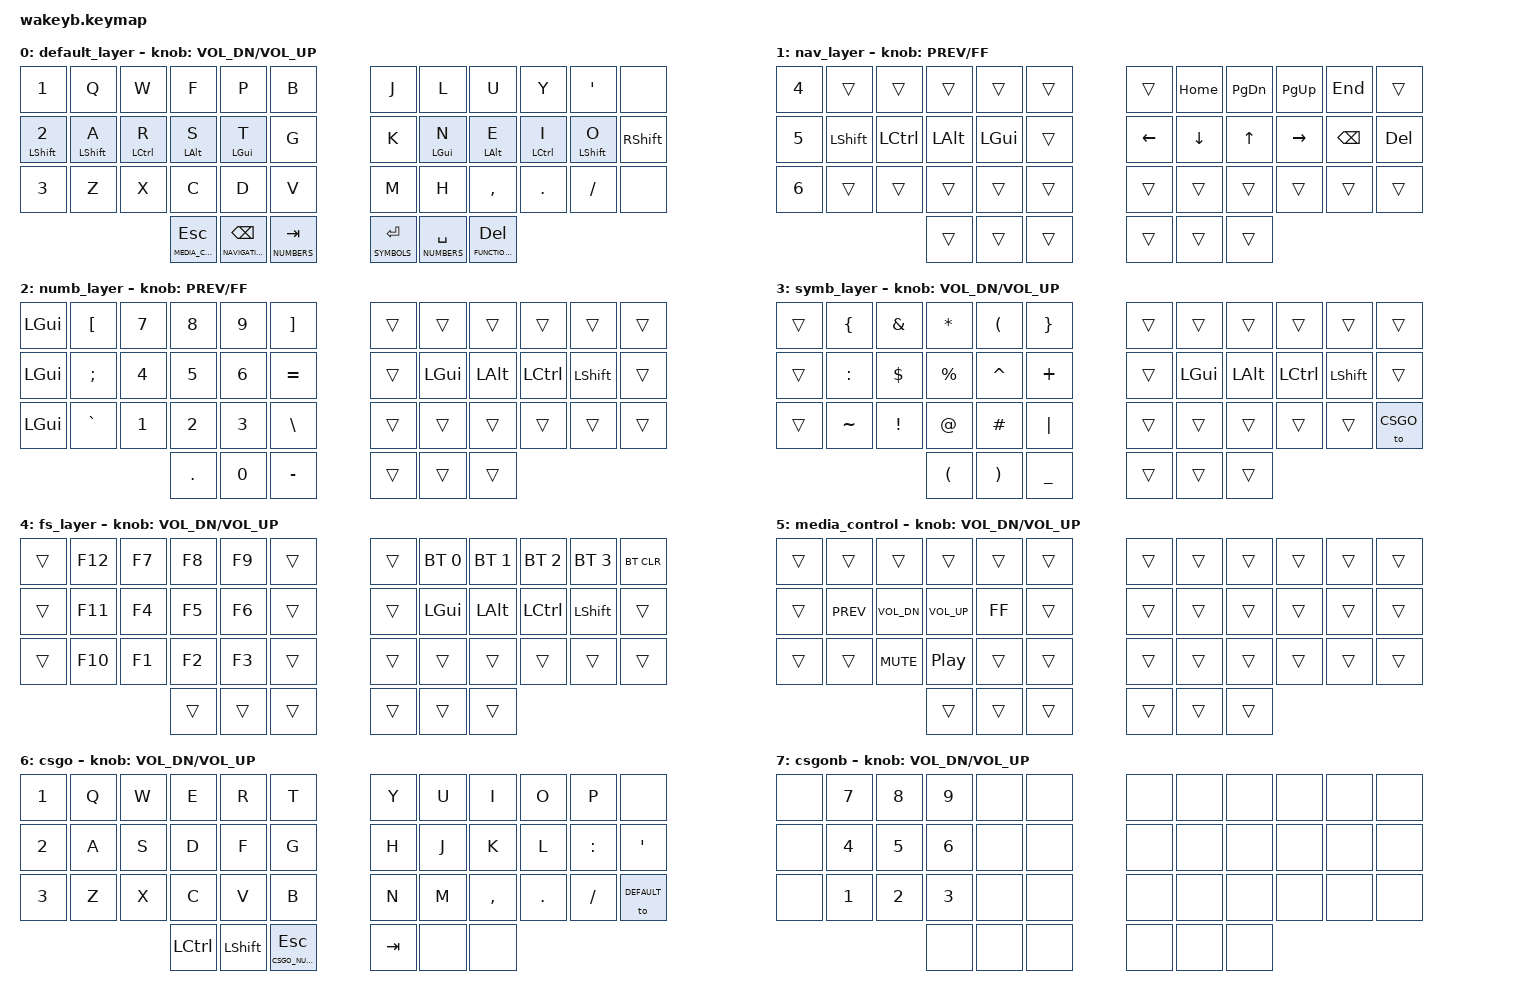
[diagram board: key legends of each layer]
/*
 * Copyright (c) 2020 The ZMK Contributors
 *
 * SPDX-License-Identifier: MIT
*/

#include <behaviors.dtsi>
#include <dt-bindings/zmk/keys.h>
#include <dt-bindings/zmk/bt.h>

#define DEFAULT         0
#define NAVIGATION      1
#define NUMBERS         2
#define SYMBOLS         3
#define FUNCTION_KEYS   4
#define MEDIA_CONTROL   5
#define CSGO            6
#define CSGO_NUMBERS    7

/ {
        behavior {
            gqt: global-quick-tap {
                compatible = "zmk,behavior-hold-tap";
                #binding-cells = <2>;
                flavor = "tap-preferred";
                tapping-term-ms = <200>;
                quick-tap-ms = <125>;
                global-quick-tap;
                bindings = <&kp>, <&kp>;
            };
            hm: homerow_mods {
                compatible = "zmk,behavior-hold-tap";
                #binding-cells = <2>;
                tapping-term-ms = <150>;
                quick-tap-ms = <0>;
                flavor = "tap-preferred";
                bindings = <&kp>, <&kp>;
            };
        };
        keymap {
                compatible = "zmk,keymap";

                default_layer {
                        bindings = <
&kp N1         &kp Q           &kp W         &kp F        &kp P        &kp B   /**/  &kp J            &kp L              &kp U                  &kp Y         &kp SQT        &none
&gqt LSHIFT N2  &gqt LSHIFT A   &gqt LCTRL R  &gqt LALT S  &gqt LGUI T  &kp G   /**/  &kp K            &gqt LGUI N        &gqt LALT E            &gqt LCTRL I  &gqt LSHIFT O  &kp RSHIFT
&kp N3         &kp Z           &kp X         &kp C        &kp D        &kp V   /**/  &kp M            &kp H              &kp COMMA              &kp DOT       &kp FSLH       &none
               &lt MEDIA_CONTROL ESC   &lt NAVIGATION BSPC    &lt NUMBERS TAB  /**/  &lt SYMBOLS RET  &lt NUMBERS SPACE  &lt FUNCTION_KEYS DEL
                        >;
                  sensor-bindings = <&inc_dec_kp C_VOL_DN C_VOL_UP >;

                };

                nav_layer {
                        bindings = <
   &kp N4   &trans      &trans      &trans      &trans      &trans   /**/  &trans      &kp HOME    &kp PG_DN   &kp PG_UP   &kp END      &trans
   &kp N5   &kp LSHIFT  &kp LCTRL   &kp LALT    &kp LGUI    &trans   /**/  &kp LEFT    &kp DOWN    &kp UP      &kp RIGHT   &kp BSPC     &kp DEL
   &kp N6   &trans      &trans      &trans      &trans      &trans   /**/  &trans      &trans      &trans      &trans      &trans       &trans
                          	        &trans      &trans      &trans   /**/  &trans      &trans      &trans
                        >;
                  sensor-bindings = <&inc_dec_kp C_PREV C_FF>;

                };

                numb_layer {
                        bindings = <
   &kp LGUI   &kp LBKT    &kp N7   &kp N8   &kp N9   &kp RBKT   /**/   &trans      &trans     &trans      &trans      &trans      &trans
   &kp LGUI   &kp SEMI    &kp N4   &kp N5   &kp N6   &kp EQUAL  /**/   &trans      &kp LGUI   &kp LALT    &kp LCTRL   &kp LSHIFT  &trans
   &kp LGUI   &kp GRAVE   &kp N1   &kp N2   &kp N3   &kp BSLH   /**/   &trans      &trans     &trans      &trans      &trans      &trans
                                &kp DOT  &kp N0   &kp MINUS     /**/   &trans      &trans     &trans
                        >;
                  sensor-bindings = <&inc_dec_kp C_PREV C_FF>;

                };
                symb_layer {
                        bindings = <
   &trans   &kp LBRC    &kp AMPS    &kp STAR    &kp LPAR    &kp RBRC    /**/  &trans   &trans       &trans      &trans      &trans        &trans
   &trans   &kp COLON   &kp DLLR    &kp PRCNT   &kp CARET   &kp PLUS    /**/  &trans   &kp LGUI     &kp LALT    &kp LCTRL   &kp LSHIFT    &trans
   &trans   &kp TILDE   &kp EXCL    &kp AT      &kp POUND   &kp PIPE    /**/  &trans   &trans       &trans      &trans      &trans        &to CSGO
                                    &kp LPAR    &kp RPAR    &kp UNDER   /**/  &trans   &trans       &trans
                        >;
                  sensor-bindings = <&inc_dec_kp C_VOL_DN C_VOL_UP >;

                };

                fs_layer {
                        bindings = <
   &trans   &kp F12   &kp F7  &kp F8   &kp F9   &trans   /**/  &trans   &bt BT_SEL 0    &bt BT_SEL 1    &bt BT_SEL 2    &bt BT_SEL 3    &bt BT_CLR
   &trans   &kp F11   &kp F4  &kp F5   &kp F6   &trans   /**/  &trans   &kp LGUI        &kp LALT        &kp LCTRL       &kp LSHIFT      &trans
   &trans   &kp F10   &kp F1  &kp F2   &kp F3   &trans   /**/  &trans   &trans          &trans          &trans          &trans          &trans
                              &trans   &trans   &trans   /**/  &trans   &trans          &trans
                        >;
                  sensor-bindings = <&inc_dec_kp C_VOL_DN C_VOL_UP >;
                };

                media_control {
                        bindings = <
   &trans    &trans         &trans          &trans              &trans      &trans  /**/  &trans    &trans      &trans      &trans      &trans      &trans
   &trans    &kp C_PREV     &kp C_VOL_DN    &kp C_VOL_UP        &kp C_FF    &trans  /**/  &trans    &trans      &trans      &trans      &trans      &trans
   &trans    &trans         &kp C_MUTE      &kp C_PLAY_PAUSE    &trans      &trans  /**/  &trans    &trans      &trans      &trans      &trans       &trans
                            &trans          &trans              &trans              /**/  &trans    &trans      &trans
                        >;
                  sensor-bindings = <&inc_dec_kp C_VOL_DN C_VOL_UP >;
                };

                csgo {
                        bindings = <
   &kp N1   &kp Q   &kp W   &kp E       &kp R       &kp T                   /**/    &kp Y       &kp U   &kp I       &kp O       &kp P       &none
   &kp N2   &kp A   &kp S   &kp D       &kp F       &kp G                   /**/    &kp H       &kp J   &kp K       &kp L       &kp COLON   &kp SQT
   &kp N3   &kp Z   &kp X   &kp C       &kp V       &kp B                   /**/    &kp N       &kp M   &kp COMMA   &kp DOT     &kp FSLH    &to DEFAULT
                            &kp LCTRL   &kp LSHIFT  &lt CSGO_NUMBERS ESC    /**/    &kp TAB     &none   &none
                        >;
                  sensor-bindings = <&inc_dec_kp C_VOL_DN C_VOL_UP >;
                };

                csgonb {
                        bindings = <
   &none   &kp N7  &kp N8  &kp N9   &none  &none     /**/    &none   &none  &none   &none   &none  &none
   &none   &kp N4  &kp N5  &kp N6   &none  &none     /**/    &none   &none  &none   &none   &none  &none
   &none   &kp N1  &kp N2  &kp N3   &none  &none     /**/    &none   &none  &none   &none   &none  &none
                           &none    &none  &none     /**/    &none   &none  &none
                        >;
                  sensor-bindings = <&inc_dec_kp C_VOL_DN C_VOL_UP >;
                };
        };
};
